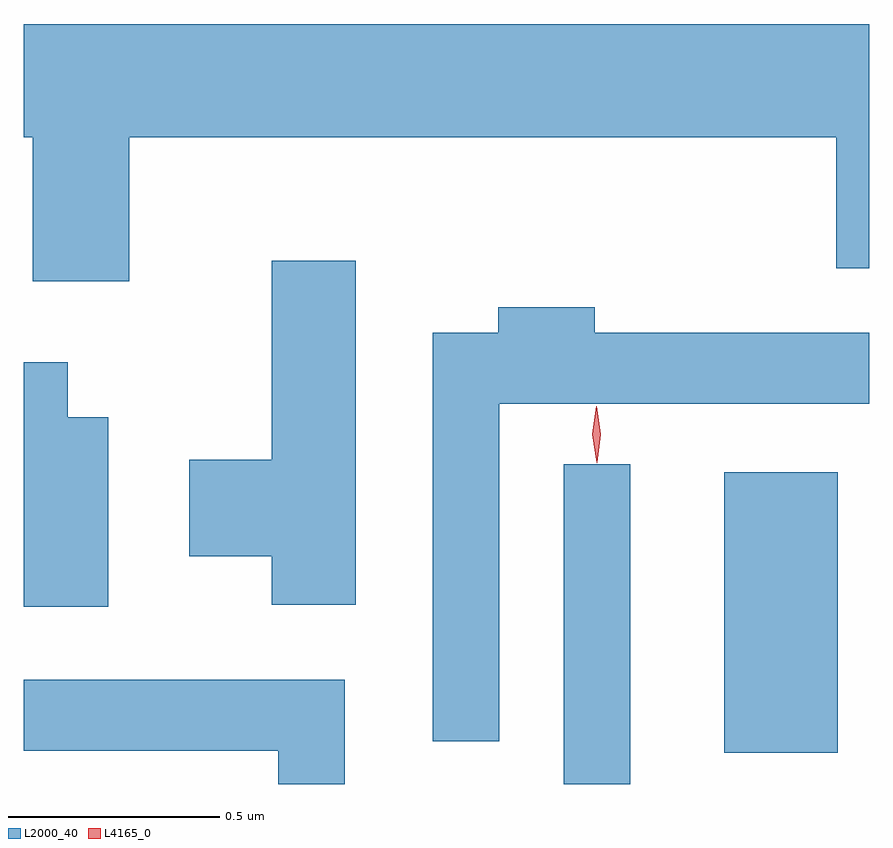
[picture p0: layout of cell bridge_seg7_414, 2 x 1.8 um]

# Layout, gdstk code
import gdstk
lib = gdstk.Library(unit=1e-6, precision=1e-09)
def R(c, l, rs):  # rectangles x0, y0, x1, y1
    for r in rs: c.add(gdstk.rectangle(r[:2], r[2:], *l))
def P(c, l, *ps):  # polygons
    for p in ps: c.add(gdstk.Polygon(p, *l))
L2000_40 = (2000, 40)
L4165_0 = (4165, 0)

bridge_seg7_414 = lib.new_cell('bridge_seg7_414')
R(bridge_seg7_414, L2000_40, [(1148.756,1746.087,1148.914,1746.843), (1149.136,1746.161,1149.404,1746.824)])
P(bridge_seg7_414, L2000_40, [(1147.729,1747.616),(1149.401,1747.616),(1149.401,1747.306),(1149.479,1747.306),(1149.479,1747.884),(1147.479,1747.884),(1147.479,1747.616),(1147.501,1747.616),(1147.501,1747.276),(1147.729,1747.276)],
  [(1148.264,1747.324),(1148.066,1747.324),(1148.066,1746.854),(1147.871,1746.854),(1147.871,1746.626),(1148.066,1746.626),(1148.066,1746.511),(1148.264,1746.511)],
  [(1148.604,1746.986),(1149.479,1746.986),(1149.479,1747.154),(1148.829,1747.154),(1148.829,1747.214),(1148.601,1747.214),(1148.601,1747.154),(1148.446,1747.154),(1148.446,1746.188),(1148.604,1746.188)],
  [(1147.679,1746.954),(1147.584,1746.954),(1147.584,1747.084),(1147.479,1747.084),(1147.479,1746.506),(1147.679,1746.506)],
  [(1148.239,1746.334),(1147.479,1746.334),(1147.479,1746.166),(1148.081,1746.166),(1148.081,1746.087),(1148.239,1746.087)])
P(bridge_seg7_414, L4165_0, [(1148.834,1746.847),(1148.834,1746.847),(1148.824,1746.914),(1148.833,1746.98),(1148.834,1746.98),(1148.834,1746.98),(1148.844,1746.914),(1148.835,1746.847)])

lib.write_gds('bridge_seg7_414.gds')
